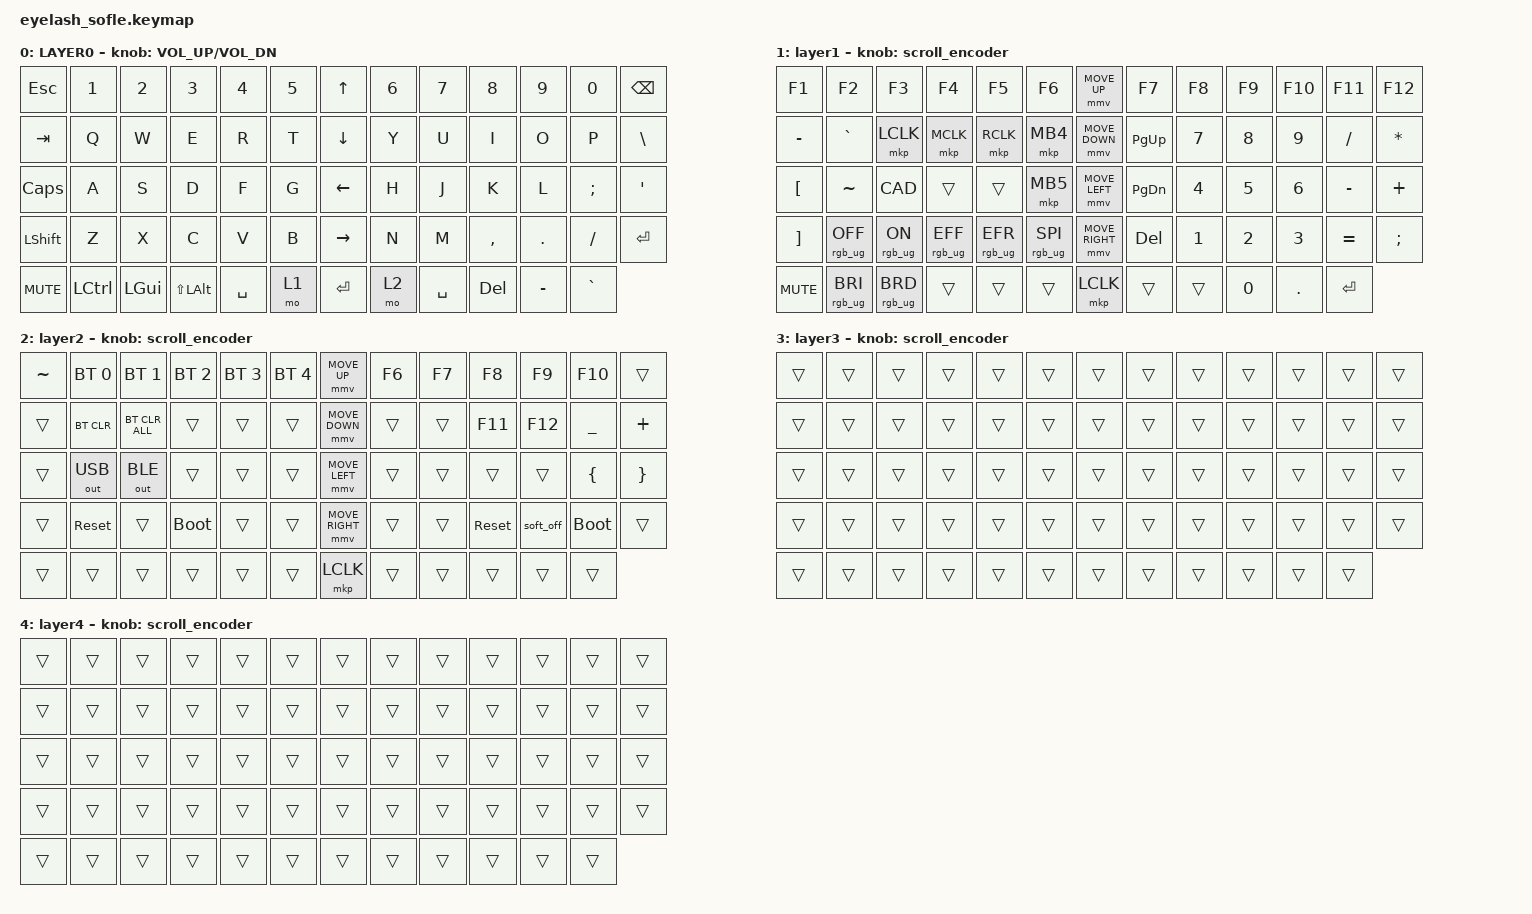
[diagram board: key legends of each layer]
#define ZMK_POINTING_DEFAULT_MOVE_VAL 1200  // 600
#define ZMK_POINTING_DEFAULT_SCRL_VAL 25   // 10

#include <input/processors.dtsi>
#include <zephyr/dt-bindings/input/input-event-codes.h>
#include <behaviors.dtsi>
#include <dt-bindings/zmk/bt.h>
#include <dt-bindings/zmk/keys.h>
#include <dt-bindings/zmk/outputs.h>
#include <dt-bindings/zmk/pointing.h>
#include <dt-bindings/zmk/rgb.h>

&mmv_input_listener { input-processors = <&zip_xy_scaler 2 1>; };

&msc_input_listener { input-processors = <&zip_scroll_scaler 2 1>; };

&msc {
    acceleration-exponent = <1>;      // 0
    time-to-max-speed-ms = <100>;       // 300
    delay-ms = <0>;                   // 0
};

&mmv {
    time-to-max-speed-ms = <500>;
    acceleration-exponent = <1>;
    trigger-period-ms = <16>;
};

&soft_off { hold-time-ms = <2000>; };

/ {
    scroll_encoder: scroll_encoder {
        compatible = "zmk,behavior-sensor-rotate";
        #sensor-binding-cells = <0>;
        bindings = <&msc SCRL_DOWN>, <&msc SCRL_UP>;

        tap-ms = <100>;
    };

    behaviors {
    };

    combos {
        compatible = "zmk,combos";

        softoff {
            bindings = <&soft_off>;
            key-positions = <14 28 40>;
        };

        CtrlAltSupp {
            bindings = <&none>;
            key-positions = <53 55 61>;
            layers = <0>;
        };

        AltEnter {
            bindings = <&none>;
            key-positions = <55 51>;
            layers = <0>;
        };
    };

    macros {
        CAD: CAD {
            compatible = "zmk,behavior-macro";
            #binding-cells = <0>;
            bindings = <&kp LCTRL &kp LALT &kp DEL &kp LCTRL &kp LALT &kp DEL>;
            label = "CAD";
        };
    };

    keymap {
        compatible = "zmk,keymap";

        layer0 {
            bindings = <
&kp ESC     &kp N1     &kp N2        &kp N3            &kp N4     &kp N5    &kp UP_ARROW     &kp N6  &kp N7     &kp N8      &kp N9     &kp N0     &kp BACKSPACE
&kp TAB     &kp Q      &kp W         &kp E             &kp R      &kp T     &kp DOWN_ARROW   &kp Y   &kp U      &kp I       &kp O      &kp P      &kp BSLH
&kp CAPS    &kp A      &kp S         &kp D             &kp F      &kp G     &kp LEFT_ARROW   &kp H   &kp J      &kp K       &kp L      &kp SEMI   &kp APOS
&kp LSHFT   &kp Z      &kp X         &kp C             &kp V      &kp B     &kp RIGHT_ARROW  &kp N   &kp M      &kp COMMA   &kp DOT    &kp FSLH   &kp ENTER
&kp C_MUTE  &kp LCTRL  &kp LEFT_GUI  &kp LS(LEFT_ALT)  &kp SPACE  &mo 1     &kp ENTER        &mo 2   &kp SPACE  &kp DELETE  &kp MINUS  &kp GRAVE
            >;

            sensor-bindings = <&inc_dec_kp C_VOLUME_UP C_VOL_DN>;
            display-name = "LAYER0";
        };

        layer_1 {
            bindings = <
&kp F1             &kp F2           &kp F3           &kp F4           &kp F5           &kp F6             &mmv MOVE_UP     &kp F7      &kp F8  &kp F9        &kp F10       &kp F11    &kp F12
&kp MINUS          &kp GRAVE        &mkp LCLK        &mkp MCLK        &mkp RCLK        &mkp MB4           &mmv MOVE_DOWN   &kp PG_UP   &kp N7  &kp N8        &kp N9        &kp SLASH  &kp ASTERISK
&kp LEFT_BRACKET   &kp TILDE        &CAD             &trans           &trans           &mkp MB5           &mmv MOVE_LEFT   &kp PG_DN   &kp N4  &kp N5        &kp N6        &kp MINUS  &kp PLUS
&kp RIGHT_BRACKET  &rgb_ug RGB_OFF  &rgb_ug RGB_ON   &rgb_ug RGB_EFF  &rgb_ug RGB_EFR  &rgb_ug RGB_SPI    &mmv MOVE_RIGHT  &kp DELETE  &kp N1  &kp NUMBER_2  &kp NUMBER_3  &kp EQUAL  &kp SEMICOLON
&kp C_MUTE         &rgb_ug RGB_BRI  &rgb_ug RGB_BRD  &trans           &trans           &trans             &mkp LCLK        &trans      &trans  &kp N0        &kp PERIOD    &kp RET
            >;

            display-name = "layer1";
            sensor-bindings = <&scroll_encoder>;
        };

        layer_2 {
            bindings = <
&kp TILDE  &bt BT_SEL 0  &bt BT_SEL 1    &bt BT_SEL 2  &bt BT_SEL 3  &bt BT_SEL 4    &mmv MOVE_UP     &kp F6  &kp F7  &kp F8      &kp F9     &kp F10      &trans
&trans     &bt BT_CLR    &bt BT_CLR_ALL  &trans        &trans        &trans          &mmv MOVE_DOWN   &trans  &trans  &kp F11     &kp F12    &kp UNDER    &kp PLUS
&trans     &out OUT_USB  &out OUT_BLE    &trans        &trans        &trans          &mmv MOVE_LEFT   &trans  &trans  &trans      &trans     &kp LBRC     &kp RBRC
&trans     &sys_reset    &trans          &bootloader   &trans        &trans          &mmv MOVE_RIGHT  &trans  &trans  &sys_reset  &soft_off  &bootloader  &trans
&trans     &trans        &trans          &trans        &trans        &trans          &mkp LCLK        &trans  &trans  &trans      &trans     &trans
            >;

            display-name = "layer2";
            sensor-bindings = <&scroll_encoder>;
        };

        layer_3 {
            bindings = <
&trans  &trans  &trans  &trans  &trans  &trans    &trans  &trans  &trans  &trans  &trans  &trans  &trans
&trans  &trans  &trans  &trans  &trans  &trans    &trans  &trans  &trans  &trans  &trans  &trans  &trans
&trans  &trans  &trans  &trans  &trans  &trans    &trans  &trans  &trans  &trans  &trans  &trans  &trans
&trans  &trans  &trans  &trans  &trans  &trans    &trans  &trans  &trans  &trans  &trans  &trans  &trans
&trans  &trans  &trans  &trans  &trans  &trans    &trans  &trans  &trans  &trans  &trans  &trans
            >;

            display-name = "layer3";
            sensor-bindings = <&scroll_encoder>;
        };

        layer_4 {
            bindings = <
&trans  &trans  &trans  &trans  &trans  &trans    &trans  &trans  &trans  &trans  &trans  &trans  &trans
&trans  &trans  &trans  &trans  &trans  &trans    &trans  &trans  &trans  &trans  &trans  &trans  &trans
&trans  &trans  &trans  &trans  &trans  &trans    &trans  &trans  &trans  &trans  &trans  &trans  &trans
&trans  &trans  &trans  &trans  &trans  &trans    &trans  &trans  &trans  &trans  &trans  &trans  &trans
&trans  &trans  &trans  &trans  &trans  &trans    &trans  &trans  &trans  &trans  &trans  &trans
            >;

            display-name = "layer4";
            sensor-bindings = <&scroll_encoder>;
        };
    };
};
